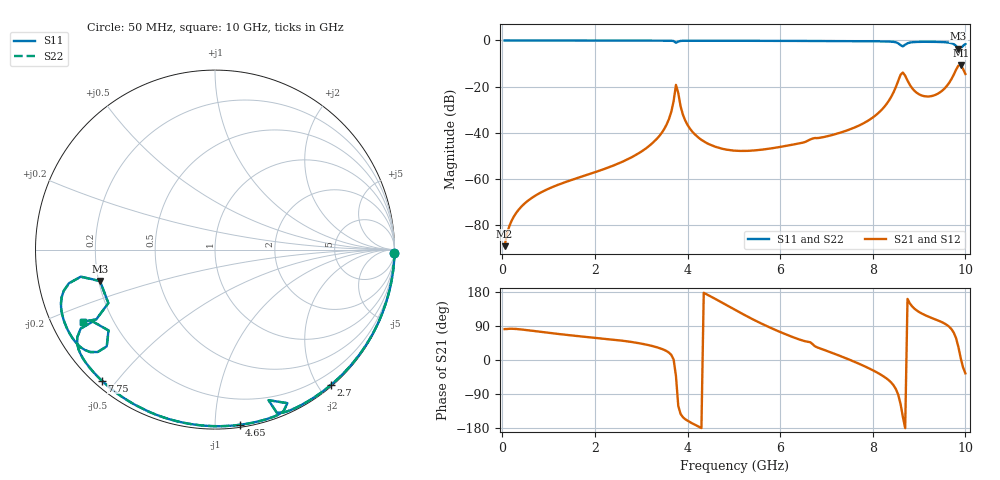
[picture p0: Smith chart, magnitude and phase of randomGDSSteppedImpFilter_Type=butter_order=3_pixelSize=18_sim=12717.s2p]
! freq	dB(S11)	phase(S11)	dB(S12)	phase(S12)
!  dB(S21)	phase(S21)	dB(S22)	phase(S22)
!S-par simulation data
#  GHz  S  DB  R 50
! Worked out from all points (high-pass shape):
!   200 points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, 50 MHz to 10 GHz, reference 50 ohm
!   highest |S21| = -10.74 dB at 9.9 GHz (marker M1); lowest = -89.1 dB at 50 MHz (marker M2)
!   |S21| within 3 dB of the highest: 9.774 GHz to 9.982 GHz (208.2 MHz wide, 2.11 % of centre)
!   lowest |S11| = -3.6 dB at 9.85 GHz (marker M3), VSWR 4.95, Z = 10.3 - j6.42 ohm
!   |S11| at or under -10 dB: nowhere
!   |S22| runs from -3.5 to 0.0 dB; largest |S21 - S12| = 0
!   S11 on the Smith chart (normalised r, x): 50 MHz: open; 2.7 GHz: 0.02, -2.17; 4.65 GHz: 0.02, -1.15; 7.75 GHz: 0.02, -0.46; 10 GHz: 0.09, -0.25
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0.05  -0.00 -0.9  -89.07 81.6  -89.07 81.6  -0.00 -0.9
0.7  -0.01 -13.2  -67.35 76.3  -67.35 76.3  -0.01 -13.2
1.75  -0.04 -32.5  -58.71 61.6  -58.71 61.6  -0.04 -32.5
2.7  -0.06 -49.5  -51.52 49.2  -51.52 49.2  -0.06 -49.5
3.4  -0.09 -62.0  -41.13 31.1  -41.13 31.1  -0.09 -62.0
3.65  -0.14 -67.4  -30.85 13.4  -30.85 13.4  -0.14 -67.4
3.75  -1.01 -70.4  -19.24 -42.3  -19.24 -42.3  -1.01 -70.4
3.9  -0.14 -68.5  -32.11 -150.8  -32.11 -150.8  -0.14 -68.5
4.05  -0.11 -71.7  -38.11 -163.8  -38.11 -163.8  -0.11 -71.7
4.65  -0.12 -82.0  -46.33 157.8  -46.33 157.8  -0.12 -82.0
5.05  -0.14 -88.5  -47.75 130.8  -47.75 130.8  -0.14 -88.5
6.7  -0.23 -114.4  -42.48 42.0  -42.48 42.0  -0.23 -114.4
7.75  -0.31 -130.9  -36.38 -12.4  -36.38 -12.4  -0.31 -130.8
8.35  -0.47 -142.4  -26.00 -53.9  -26.00 -53.9  -0.47 -142.4
8.55  -1.23 -149.5  -17.41 -91.9  -17.41 -91.9  -1.23 -149.5
8.65  -2.56 -142.8  -13.89 -150.0  -13.89 -150.0  -2.56 -142.7
8.95  -0.64 -145.2  -22.67 130.7  -22.67 130.7  -0.64 -145.1
9.25  -0.59 -152.0  -24.16 112.0  -24.16 112.0  -0.59 -152.0
9.55  -0.76 -159.3  -20.81 96.3  -20.81 96.3  -0.76 -159.3
9.85  -3.55 -164.7  -10.86 33.8  -10.86 33.8  -3.55 -164.7
9.9  -3.55 -153.4  -10.74 4.5  -10.74 4.5  -3.54 -153.3
10  -1.51 -151.4  -14.52 -35.2  -14.52 -35.2  -1.51 -151.4
